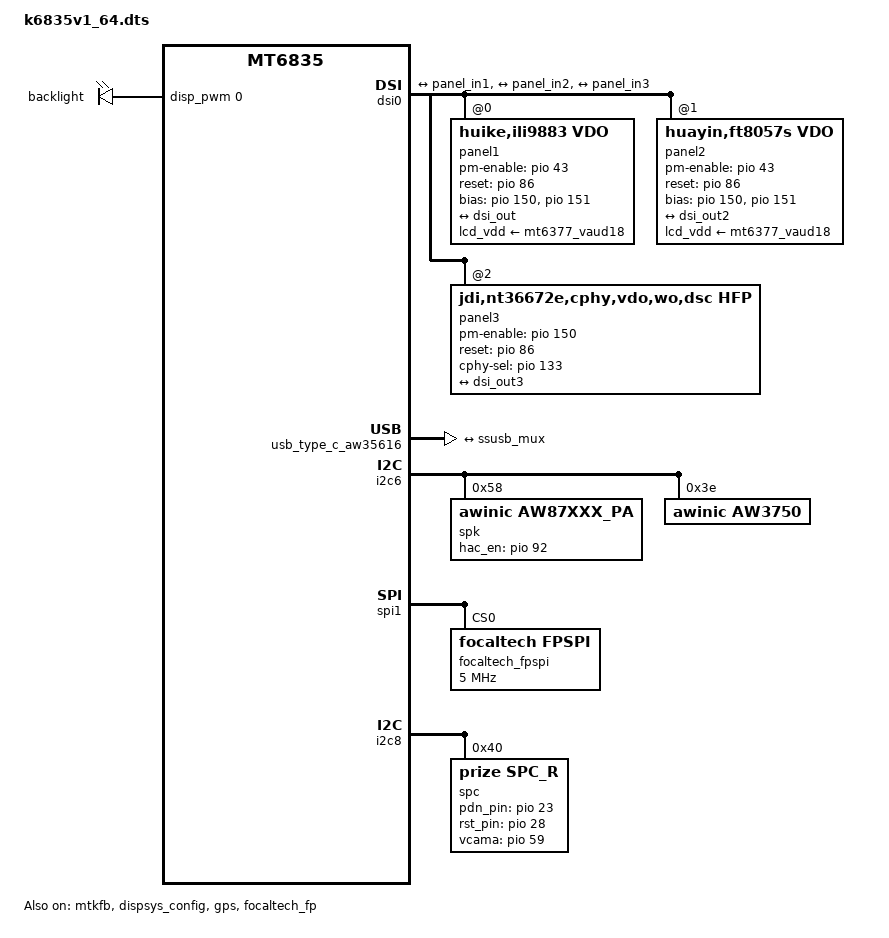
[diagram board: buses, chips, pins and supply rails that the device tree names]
// SPDX-License-Identifier: (GPL-2.0 OR MIT)
/*
 * Copyright (C) 2022 MediaTek Inc.
 */
/dts-v1/;
/plugin/;
#include <dt-bindings/interrupt-controller/arm-gic.h>
#include <dt-bindings/interrupt-controller/irq.h>
#include <dt-bindings/phy/phy.h>
#include <dt-bindings/pinctrl/mt6835-pinfunc.h>
#include "mediatek/mt6835_6377.dtsi"
#include "mediatek/cust_mt6835_camera.dtsi"
/*
&mtk_leds {
	compatible = "mediatek,i2c-leds";

	backlight {
		led_mode = <6>;
		gate_enable = <1>;
		pwm_config = <0 1 0 0 0>;
	};
};
*/
&mtk_leds {
        compatible = "mediatek,pwm-leds";
        backlight {
                led_mode = <5>;
                pwms = <&disp_pwm 0 39385>;
                pwm-names = "lcd-backlight";
                pwm_config = <0 1 0 0 0>;
        };
};

//add by wangfei for TEE 20231018 satrt
/* Trustonic Mobilecore real driver */
&mobicore{
	trustonic,real-drv = <1>;
};
//add by wangfei for TEE 20231018 end
&pio {
	mtkfb_pins_lcm_led_en1: lcm_led_en1_gpio {
		pins_cmd_dat {
			pinmux = <PINMUX_GPIO150__FUNC_GPIO150>;
			slew-rate = <1>;
			output-high;
		};
	};

	mtkfb_pins_lcm_led_en0: lcm_led_en0_gpio {
		pins_cmd_dat {
			pinmux = <PINMUX_GPIO150__FUNC_GPIO150>;
			slew-rate = <1>;
			output-low;
		};
	};

	mtkfb_pins_lcm_rst_out1_gpio: lcm_rst_out1_gpio {
		pins_cmd_dat {
			pinmux = <PINMUX_GPIO86__FUNC_GPIO86>;
			slew-rate = <1>;
			output-high;
		};
	};

	mtkfb_pins_lcm_rst_out0_gpio: lcm_rst_out0_gpio {
		pins_cmd_dat {
			pinmux = <PINMUX_GPIO86__FUNC_GPIO86>;
			slew-rate = <1>;
			output-low;
		};
	};

	mtkfb_pins_lcm_dsi_te: lcm_dsi_te {
		pins_cmd_dat {
			pinmux = <PINMUX_GPIO85__FUNC_DSI_TE>;
		};
	};

	mtkfb_pins_lcm_cphy_out_gpio: lcm_cphy_out_gpio {
		pins_cmd_dat {
			pinmux = <PINMUX_GPIO133__FUNC_GPIO133>;
			slew-rate = <1>;
			output-high;
		};
	};
};

&mtkfb {
	pinctrl-names = "lcm_led_en1_gpio", "lcm_led_en0_gpio",
		"lcm_rst_out1_gpio", "lcm_rst_out0_gpio",
		"mode_te_te", "lcm_cphy_out_gpio";
	pinctrl-0 = <&mtkfb_pins_lcm_led_en1>;
	pinctrl-1 = <&mtkfb_pins_lcm_led_en0>;
	pinctrl-2 = <&mtkfb_pins_lcm_rst_out1_gpio>;
	pinctrl-3 = <&mtkfb_pins_lcm_rst_out0_gpio>;
	pinctrl-4 = <&mtkfb_pins_lcm_dsi_te>;
	pinctrl-5 = <&mtkfb_pins_lcm_cphy_out_gpio>;
	status = "okay";
};

&dispsys_config {
	pinctrl-names =
		"lcm_rst_out1_gpio", "lcm_rst_out0_gpio",
		"mode_te_te", "lcm_cphy_out_gpio";
	pinctrl-0 = <&mtkfb_pins_lcm_rst_out1_gpio>;
	pinctrl-1 = <&mtkfb_pins_lcm_rst_out0_gpio>;
	pinctrl-2 = <&mtkfb_pins_lcm_dsi_te>;
	pinctrl-3 = <&mtkfb_pins_lcm_cphy_out_gpio>;
	status = "okay";
};
&dsi0 {
	status = "okay";
	touch,reset-gpio = <&pio 147 0x0>;
	touch,irq-gpio = <&pio 4 0x0>;
	#address-cells = <1>;
	#size-cells = <0>;
	switch-fps = <90>;
	switch-mode = "vfp";
	panel1@0 {
		compatible = "huike,ili9883,vdo";
		reg = <0>;
		pm-enable-gpios = <&pio 43 0>;
		reset-gpios = <&pio 86 0>;
		bias-gpios = <&pio 150 0>,
				<&pio 151 0>;
		gate-ic = <4831>;
		lcd_vdd-supply = <&mt6377_vaud18>;
		pinctrl-names = "default";
		port {
			panel_in1: endpoint {
				remote-endpoint = <&dsi_out>;
			};
		};
	};
	panel2@1 {
		compatible = "huayin,ft8057s,vdo";
		reg = <1>;
		pm-enable-gpios = <&pio 43 0>;
		reset-gpios = <&pio 86 0>;
		bias-gpios = <&pio 150 0>,
				<&pio 151 0>;
		gate-ic = <4831>;
		lcd_vdd-supply = <&mt6377_vaud18>;
		pinctrl-names = "default";
		port {
			panel_in2: endpoint {
				remote-endpoint = <&dsi_out2>;
			};
		};
	};
	panel3@2 {
		compatible = "jdi,nt36672e,cphy,vdo,wo,dsc,hfp";
		reg = <2>;
		pm-enable-gpios = <&pio 150 0>;
		reset-gpios = <&pio 86 0>;
		cphy-sel-gpios = <&pio 133 0>;
		gate-ic = <4831>;
		pinctrl-names = "default";
		port {
			panel_in3: endpoint {
				remote-endpoint = <&dsi_out3>;
			};
		};
	};
	ports {
		port {
			dsi_out: endpoint {
				remote-endpoint = <&panel_in1>;
			};
			dsi_out2: endpoint2 {
				remote-endpoint = <&panel_in2>;
			};
			dsi_out3: endpoint3 {
				remote-endpoint = <&panel_in3>;
			};
		};
	};
};

/* usb typec mux start */
&pio {
	sel_up: sel_high {
		pins_cmd_dat {
			pinmux = <PINMUX_GPIO54__FUNC_GPIO54>;
			output-high;
		};
	};

	sel_down: sel_low  {
		pins_cmd_dat {
			pinmux = <PINMUX_GPIO54__FUNC_GPIO54>;
			output-low;
		};
	};

	sw_enable: sw_enable {
		pins_cmd_dat {
			pinmux = <PINMUX_GPIO30__FUNC_GPIO30>;
			output-high;
		};
	};

	sw_disable: sw_disable {
		pins_cmd_dat {
			pinmux = <PINMUX_GPIO30__FUNC_GPIO30>;
			output-high;
		};
	};

/*
	ps_enable: ps_enable {
		pins_cmd_dat {
			pinmux = <PINMUX_GPIO141__FUNC_GPIO141>;
			output-low;
		};
	};

	ps_disable: ps_disable {
		pins_cmd_dat {
			pinmux = <PINMUX_GPIO141__FUNC_GPIO141>;
			output-low;
		};
	};
*/
};

&ps5169 {
	//pinctrl-names = "enable", "disable";
	//pinctrl-0 = <&ps_enable>;
	//pinctrl-1 = <&ps_disable>;
	status = "disable";
};

&fusb304 {
	pinctrl-names = "sel_up", "sel_down",
		"enable", "disable";
	pinctrl-0 = <&sel_up>;
	pinctrl-1 = <&sel_down>;
	pinctrl-2 = <&sw_enable>;
	pinctrl-3 = <&sw_disable>;
	status = "disable";
};

/*
&mt6375_typec {
	port {
		tcpc_typec_usb: endpoint@0 {
			remote-endpoint = <&ssusb_mux>;
		};
	};
};
*/

&usb_type_c_aw35616 {
	port {
		tcpc_typec_usb: endpoint@0 {
			remote-endpoint = <&ssusb_mux>;
		};
	};
};

&typec_mux_switch {
	orientation-switch;
	mode-switch;
	accessory;
	port {
		ssusb_mux: endpoint@0 {
			remote-endpoint = <&tcpc_typec_usb>;
		};
	};
};
/* usb typec mux end*/

/* GPS GPIO standardization start */
&pio {
	gps_pins_default: gps_default {
	};
	gps_l1_lna_pins_ol: gps_l1_lna@0 {
		pins_cmd_dat {
			pinmux = <PINMUX_GPIO123__FUNC_GPIO123>;
			output-low;
		};
	};
	gps_l1_lna_pins_dsp_ctrl: gps_l1_lna@1 {
		pins_cmd_dat {
			pinmux = <PINMUX_GPIO123__FUNC_GPS_L1_ELNA_EN>;
		};
	};
	gps_l1_lna_pins_oh: gps_l1_lna@2 {
		pins_cmd_dat {
			pinmux = <PINMUX_GPIO123__FUNC_GPIO123>;
			output-high;
		};
	};
	gps_l5_lna_pins_ol: gps_l5_lna@0 {
		pins_cmd_dat {
			pinmux = <PINMUX_GPIO124__FUNC_GPIO124>;
			output-low;
		};
	};
	gps_l5_lna_pins_dsp_ctrl: gps_l5_lna@1 {
		pins_cmd_dat {
			pinmux = <PINMUX_GPIO124__FUNC_GPS_L5_ELNA_EN>;
		};
	};
	gps_l5_lna_pins_oh: gps_l5_lna@2 {
		pins_cmd_dat {
			pinmux = <PINMUX_GPIO124__FUNC_GPIO124>;
			output-high;
		};
	};
};

&gps {
	pinctrl-names = "default",
		"gps_l1_lna_disable",
		"gps_l1_lna_dsp_ctrl",
		"gps_l1_lna_enable",
		"gps_l5_lna_disable",
		"gps_l5_lna_dsp_ctrl",
		"gps_l5_lna_enable";
	pinctrl-0 = <&gps_pins_default>;
	pinctrl-1 = <&gps_l1_lna_pins_ol>;
	pinctrl-2 = <&gps_l1_lna_pins_dsp_ctrl>;
	pinctrl-3 = <&gps_l1_lna_pins_oh>;
	pinctrl-4 = <&gps_l5_lna_pins_ol>;
	pinctrl-5 = <&gps_l5_lna_pins_dsp_ctrl>;
	pinctrl-6 = <&gps_l5_lna_pins_oh>;
	status = "okay";
};
/* GPS GPIO standardization end */

#include "mediatek/cust_mt6835_camera_6377_v4l2.dtsi"
#include "mediatek/cust_mt6835_touch_ft8057s_720x1612.dtsi"

&pdc {
	pd-vbus-upper-bound = <9000000>;
};

&charger{
	enable-vbat-mon = <0>;
};

&i2c6 {
	spk: aw87xxx_pa@58 {
		compatible = "awinic,aw87xxx_pa";
		#sound-dai-cells = <0>;
		reg = <0x58>;
		dev_index = < 0 >;
		gpio_hac_en = <&pio 92 0x0>;
		status = "okay";
	};
	aw3750: aw3750@3e {
		compatible = "awinic,aw3750";
		reg = <0x3e>;
		status = "okay";
	};
};

&sound {
	mediatek,spk-i2s = <3 0>;
	mediatek,speaker-codec {
		sound-dai = <&spk>;
	};
};

//add by wangfei for fp 20231018 satrt
&spi1 {
	focaltech_fpspi@0 {
		compatible = "focaltech,fpspi";
		reg = <0>;
		spi-max-frequency = <5000000>;
		//pinctrl-names = "ffspi_pins_active";
		//pinctrl-0 = <&fp_pins_spi_active>;
		status = "okay";
	};
};

&focaltech_fp{
	status = "okay";
	interrupt-parent = <&pio>;
	interrupts = <15 IRQ_TYPE_EDGE_RISING>;

	/*reset & int gpio*/
	focaltech_fp,reset-gpio = <&pio 07 0>;
	focaltech_fp,irq-gpio = <&pio 15 0>;

	/*gpio to control the VDD power*/
	focaltech_fp,vdd-gpio = <&pio 03 0>;

	//focaltech_fp,power-always-on;
	focaltech_fp,use-regulator;
	ff_vdd-supply = <&mt6377_vfp>;

	//focaltech_fp,ree;
	//focaltech_fp,no-screen-on-off;
	focaltech_fp,spiclk;
	focaltech_fp,read-chip;

	//focaltech_fp,use-pinctrl;
	pinctrl-names = "ff_pins_reset_low","ff_pins_reset_high","ff_pins_irq_as_int"/*,"ff_pins_power_low","ff_pins_power_high"*/;
	pinctrl-0 = <&fp_pins_rst_output0>;
	pinctrl-1 = <&fp_pins_rst_output1>;
	pinctrl-2 = <&fp_pins_eint>;
//	pinctrl-3 = <&fp_pins_power_output0>;
//	pinctrl-4 = <&fp_pins_power_output1>;
};

&pio {
	fp_pins_rst_output0: fprstout0 {
		pins_cmd_dat {
			pinmux = <PINMUX_GPIO7__FUNC_GPIO7>;
			output-low;
		};
	};
	fp_pins_rst_output1: fprstout1 {
		pins_cmd_dat {
			pinmux = <PINMUX_GPIO7__FUNC_GPIO7>;
			output-high;
		};
	};
	fp_pins_eint: fpeint {
		pins_cmd_dat {
			pinmux = <PINMUX_GPIO15__FUNC_GPIO15>;
			bias-disable;
			input-enable;
		};
	};
	/*
	fp_pins_power_output0: fppwrout0 {
		pins_cmd_dat {
			pinmux = <PINMUX_GPIO3__FUNC_GPIO3>;
			output-low;
		};
	};
	fp_pins_power_output1: fppwrout1 {
		pins_cmd_dat {
			pinmux = <PINMUX_GPIO3__FUNC_GPIO3>;
			output-high;
		};
	};*/
	fp_pins_spi_active: fpspi_mode {
		pins_cmd_dat {
			pinmux = <PINMUX_GPIO60__FUNC_SPI1_CLK>,<PINMUX_GPIO61__FUNC_SPI1_CSB>,<PINMUX_GPIO62__FUNC_SPI1_MO>,<PINMUX_GPIO63__FUNC_SPI1_MI>;
		};
	};
};
//add by wangfei for fp 20231018 end

//prize add for WideVineL1 enable svp
&mtee_svp {
	mtee:MTEE {
		compatible = "mediatek,mtk_svp_on_mtee_support";
	};
	svp:SecureVideoPath {
		compatible = "mediatek,mtk_sec_video_path_support";
	};
};

// prieze add by chenwenhui 20240601 start
&i2c8 {
	spc@40 {
		compatible = "prize,spc_r";
		reg = <0x40>;
		pdn_pin = <&pio 23 0>;
		rst_pin = <&pio 28 0>;
		sensor_id = <0x6133>;
		sensor_type = <0x6133>;
		vcama-gpio = <&pio 59 0>;
		//vcamd-gpio = <&pio 34 0>;
	};
};
// prieze add by chenwenhui 20240601 end

#include <k6835v1_64/cust.dtsi>
/*End of this file, DO NOT ADD ANYTHING HERE*/
